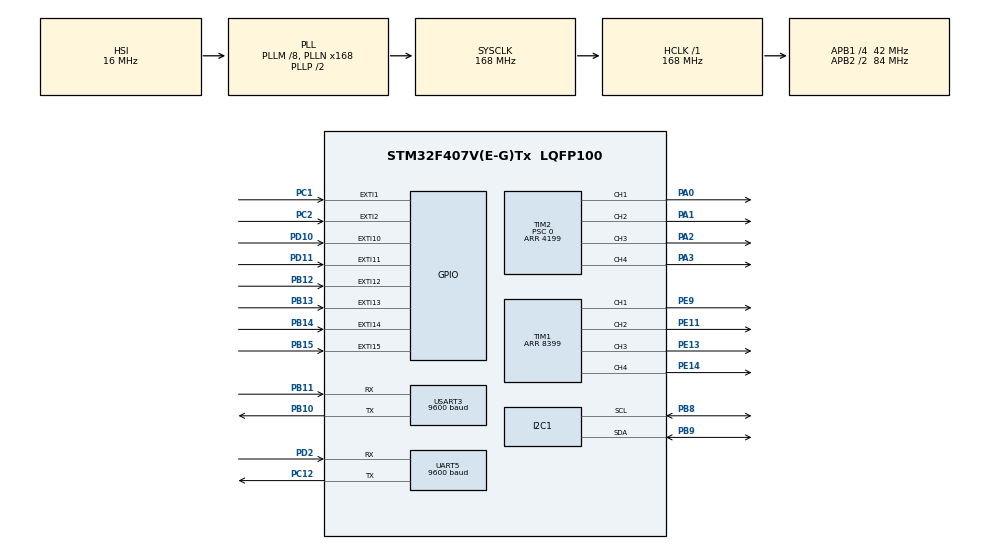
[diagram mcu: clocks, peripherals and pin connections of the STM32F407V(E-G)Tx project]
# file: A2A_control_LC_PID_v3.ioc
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Mcu.Family=STM32F4
Mcu.Name=STM32F407V(E-G)Tx
Mcu.Package=LQFP100
NVIC.EXTI15_10_IRQn=true\:0\:0\:false\:false\:true\:true\:true\:true
NVIC.EXTI1_IRQn=true\:0\:0\:false\:false\:true\:true\:true\:true
NVIC.EXTI2_IRQn=true\:0\:0\:false\:false\:true\:true\:true\:true
NVIC.PriorityGroup=NVIC_PRIORITYGROUP_4
NVIC.TIM3_IRQn=true\:0\:0\:false\:false\:true\:true\:true\:true
NVIC.UART5_IRQn=true\:0\:0\:false\:false\:true\:true\:true\:true
NVIC.USART3_IRQn=true\:0\:0\:false\:false\:true\:true\:true\:true
PA0-WKUP.Signal=S_TIM2_CH1_ETR
PA1.Signal=S_TIM2_CH2
PA2.Signal=S_TIM2_CH3
PA3.Signal=S_TIM2_CH4
PB10.Mode=Asynchronous
PB10.Signal=USART3_TX
PB11.Mode=Asynchronous
PB11.Signal=USART3_RX
PB12.Signal=GPXTI12
PB13.Signal=GPXTI13
PB14.Signal=GPXTI14
PB15.Signal=GPXTI15
PB8.Mode=I2C
PB8.Signal=I2C1_SCL
PB9.Mode=I2C
PB9.Signal=I2C1_SDA
PC1.Signal=GPXTI1
PC12.Mode=Asynchronous
PC12.Signal=UART5_TX
PC2.Signal=GPXTI2
PD10.Signal=GPXTI10
PD11.Signal=GPXTI11
PD2.Mode=Asynchronous
PD2.Signal=UART5_RX
PE11.Signal=S_TIM1_CH2
PE13.Signal=S_TIM1_CH3
PE14.Signal=S_TIM1_CH4
PE9.Signal=S_TIM1_CH1
ProjectManager.HeapSize=0x200
ProjectManager.StackSize=0x400
ProjectManager.TargetToolchain=STM32CubeIDE
RCC.48MHZClocksFreq_Value=84000000
RCC.AHBFreq_Value=168000000
RCC.APB1CLKDivider=RCC_HCLK_DIV4
RCC.APB1Freq_Value=42000000
RCC.APB1TimFreq_Value=84000000
RCC.APB2CLKDivider=RCC_HCLK_DIV2
RCC.APB2Freq_Value=84000000
RCC.APB2TimFreq_Value=168000000
RCC.CortexFreq_Value=168000000
RCC.HCLKFreq_Value=168000000
RCC.HSE_VALUE=25000000
RCC.HSI_VALUE=16000000
RCC.LSE_VALUE=32768
RCC.PLLM=8
RCC.PLLN=168
RCC.SYSCLKFreq_VALUE=168000000
RCC.SYSCLKSource=RCC_SYSCLKSOURCE_PLLCLK
RCC.VCOOutputFreq_Value=336000000
SH.S_TIM1_CH1.0=TIM1_CH1,PWM Generation1 CH1
SH.S_TIM1_CH2.0=TIM1_CH2,PWM Generation2 CH2
SH.S_TIM1_CH3.0=TIM1_CH3,PWM Generation3 CH3
SH.S_TIM1_CH4.0=TIM1_CH4,PWM Generation4 CH4
SH.S_TIM2_CH1_ETR.0=TIM2_CH1,PWM Generation1 CH1
SH.S_TIM2_CH2.0=TIM2_CH2,PWM Generation2 CH2
SH.S_TIM2_CH3.0=TIM2_CH3,PWM Generation3 CH3
SH.S_TIM2_CH4.0=TIM2_CH4,PWM Generation4 CH4
TIM1.AutoReloadPreload=TIM_AUTORELOAD_PRELOAD_ENABLE
TIM1.Channel-PWM\ Generation1\ CH1=TIM_CHANNEL_1
TIM1.Channel-PWM\ Generation2\ CH2=TIM_CHANNEL_2
TIM1.Channel-PWM\ Generation3\ CH3=TIM_CHANNEL_3
TIM1.Channel-PWM\ Generation4\ CH4=TIM_CHANNEL_4
TIM1.Period=8399
TIM2.AutoReloadPreload=TIM_AUTORELOAD_PRELOAD_ENABLE
TIM2.Channel-PWM\ Generation1\ CH1=TIM_CHANNEL_1
TIM2.Channel-PWM\ Generation2\ CH2=TIM_CHANNEL_2
TIM2.Channel-PWM\ Generation3\ CH3=TIM_CHANNEL_3
TIM2.Channel-PWM\ Generation4\ CH4=TIM_CHANNEL_4
TIM2.Period=4199
TIM2.Prescaler=0
TIM3.Period=999
TIM3.Prescaler=839
UART5.BaudRate=9600
UART5.VirtualMode=Asynchronous
USART3.BaudRate=9600
USART3.VirtualMode=VM_ASYNC
VP_TIM1_VS_ClockSourceINT.Mode=Internal
VP_TIM2_VS_ClockSourceINT.Mode=Internal
VP_TIM3_VS_ClockSourceINT.Mode=Internal
board=custom

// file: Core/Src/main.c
/* USER CODE BEGIN Header */
/**
  ******************************************************************************
  * @file           : main.c
  * @brief          : Main program body
  ******************************************************************************
  * @attention
  *
  * Copyright (c) 2025 STMicroelectronics.
  * All rights reserved.
  *
  * This software is licensed under terms that can be found in the LICENSE file
  * in the root directory of this software component.
  * If no LICENSE file comes with this software, it is provided AS-IS.
  *
  ******************************************************************************
  */
/* USER CODE END Header */
#include "main.h"

/* USER CODE BEGIN Includes */
#include <stdio.h>
#include <string.h>

// Variables globales para cada motor
typedef struct {
    float q0;        // coeficiente PI discreto
    float q1;        // coeficiente PI discreto

    float e_prev;    // error anterior
    float u_prev;    // salida anterior (PWM)
} PIController;

void controlarMotorPI(TIM_HandleTypeDef *htim, uint32_t chA, uint32_t chB,
                      PIController *pi, float setpoint, float feedback, int dir);

void movimiento(char str,
                float sp1, float sp2, float sp3, float sp4,
                float fb1, float fb2, float fb3, float fb4);
// ===== Límite de seguridad y helpers PWM =====
#define MAX_DUTY_PCT  50.0f   // tope de PWM en %, ajusta a tu gusto

static inline uint32_t pwm_get_arr(TIM_HandleTypeDef *htim) {
    return __HAL_TIM_GET_AUTORELOAD(htim);  // = Period (ARR) del timer
}

static inline uint32_t pwm_pct_to_ccr(TIM_HandleTypeDef *htim, float pct) {
    if (pct < 0.0f)   pct = 0.0f;
    if (pct > 100.0f) pct = 100.0f;
    float arr = (float)pwm_get_arr(htim);
    return (uint32_t)((pct * arr) / 100.0f + 0.5f);
}

/* USER CODE END Includes */

I2C_HandleTypeDef hi2c1;

TIM_HandleTypeDef htim1;
TIM_HandleTypeDef htim2;
TIM_HandleTypeDef htim3;

UART_HandleTypeDef huart5;
UART_HandleTypeDef huart3;

void SystemClock_Config(void);
static void MX_GPIO_Init(void);
static void MX_TIM1_Init(void);
static void MX_TIM2_Init(void);
static void MX_UART5_Init(void);
static void MX_USART3_UART_Init(void);
static void MX_I2C1_Init(void);
static void MX_TIM3_Init(void);

/* USER CODE BEGIN 0 */
// === ADDED ===
volatile char g_cmd = 'e';          // comando actual (empieza en STOP)
volatile uint8_t control_tick = 0;  // flag para ejecutar control cada 10 ms
uint8_t rx3, rx5;                   // buffers de RX por IT para USART3 y UART5

#define ENCODER_PPR 500 // Pulsos por revolución del encoder
#define TIMER_INTERVAL 100 // Intervalo del cálculo de velocidad (ms)
/* Variables globales para los encoders */
char rxData='b';
char datico='b';
int *velocidad_mostrar;

volatile int32_t encoder_count_m1 = 0, encoder_count_m2 = 0, encoder_count_m3 = 0, encoder_count_m4 = 0;
volatile int8_t motor_direction_m1 = 0, motor_direction_m2 = 0, motor_direction_m3 = 0, motor_direction_m4 = 0;
volatile int32_t pulses_in_interval_m1 = 0, pulses_in_interval_m2 = 0, pulses_in_interval_m3 = 0, pulses_in_interval_m4 = 0;
volatile int32_t motor_speed_rpm_m1 = 0, motor_speed_rpm_m2 = 0, motor_speed_rpm_m3 = 0, motor_speed_rpm_m4 = 0;

float a_m1 = 22.697, a_m2 = 23.993, a_m3 = 22.697, a_m4 = 23.119;
float b_m1 = 1200.62, b_m2 = 1200.31, b_m3 = 927.31, b_m4 = 874;

float PI_Compute(PIController *pi, float setpoint, float feedback)
{
    float e = setpoint - feedback;

    // cálculo incremental sin límites
    float u = pi->u_prev +
              pi->q0 * e +
              pi->q1 * pi->e_prev;

    // ---- ANTI-WINDUP ----
    if (u > MAX_DUTY_PCT) {
        u = MAX_DUTY_PCT;
    }
    else if (u < 0) {
        u = 0;
    } else {
        // solo actualizamos pi->u_prev si NO está saturado
        pi->u_prev = u;
    }

    pi->e_prev = e;

    return u;
}

#define TS_GLOBAL 0.003f   // 3 ms (Tu TIMER_INTERVAL = 3 ms)

PIController piM1 = { .q0 = 0.0662576184809118f,
                      .q1 = -0.0288467565916015f,
                      .e_prev = 0,
                      .u_prev = 0 };

PIController piM2 = { .q0 = 0.0662576184809118f,
						.q1 = -0.0288467565916015f,
                      .e_prev = 0,
                      .u_prev = 0 };

PIController piM3 = { 	.q0 = 0.0662576184809118f,
        				.q1 = -0.0288467565916015f,
                      .e_prev = 0,
                      .u_prev = 0 };

PIController piM4 = { .q0 = 0.0662576184809118f,
        				.q1 = -0.0288467565916015f,
                      .e_prev = 0,
                      .u_prev = 0 };

float feedbackM1, feedbackM2, feedbackM3, feedbackM4 = 0;  // Declare the feedback variables

/* ISR para las señales del encoder */
void HAL_GPIO_EXTI_Callback(uint16_t GPIO_Pin) {
    // Motor 1
    if (GPIO_Pin == GPIO_PIN_12 || GPIO_Pin == GPIO_PIN_13) {
        if (HAL_GPIO_ReadPin(GPIOB, GPIO_PIN_12) == HAL_GPIO_ReadPin(GPIOB, GPIO_PIN_13)) {
            encoder_count_m1++;
            pulses_in_interval_m1++;
            motor_direction_m1 = 1;
        } else {
            encoder_count_m1--;
            pulses_in_interval_m1++;
            motor_direction_m1 = -1;
        }
    }
    // Motor 2
    else if (GPIO_Pin == GPIO_PIN_14 || GPIO_Pin == GPIO_PIN_15) {
        if (HAL_GPIO_ReadPin(GPIOB, GPIO_PIN_14) == HAL_GPIO_ReadPin(GPIOB, GPIO_PIN_15)) {
            encoder_count_m2++;
            pulses_in_interval_m2++;
            motor_direction_m2 = 1;
        } else {
            encoder_count_m2--;
            pulses_in_interval_m2++;
            motor_direction_m2 = -1;
        }
    }
    // Motor 3
    else if (GPIO_Pin == GPIO_PIN_10 || GPIO_Pin == GPIO_PIN_11) {
        if (HAL_GPIO_ReadPin(GPIOD, GPIO_PIN_10) == HAL_GPIO_ReadPin(GPIOD, GPIO_PIN_11)) {
            encoder_count_m3++;
            pulses_in_interval_m3++;
            motor_direction_m3 = 1;
        } else {
            encoder_count_m3--;
            pulses_in_interval_m3++;
            motor_direction_m3 = -1;
        }
    }
    // Motor 4
    else if (GPIO_Pin == GPIO_PIN_2 || GPIO_Pin == GPIO_PIN_1) {
        if (HAL_GPIO_ReadPin(GPIOC, GPIO_PIN_1) == HAL_GPIO_ReadPin(GPIOC, GPIO_PIN_2)) {
            encoder_count_m4++;
            pulses_in_interval_m4++;
            motor_direction_m4 = 1;
        } else {
            encoder_count_m4--;
            pulses_in_interval_m4++;
            motor_direction_m4 = -1;
        }
    }
}
void HAL_UART_RxCpltCallback(UART_HandleTypeDef *huart) {
    char c;
    if (huart->Instance == USART3) {
        c = (char)rx3;
        HAL_UART_Receive_IT(&huart3, &rx3, 1); // rearmar
    } else if (huart->Instance == UART5) {
        c = (char)rx5;
        HAL_UART_Receive_IT(&huart5, &rx5, 1); // rearmar
    } else {
        return;
    }

    // Si es un comando válido, actualizar g_cmd y resetear integrales (anti-windup)
    if (c=='a'||c=='b'||c=='c'||c=='d'||c=='e'||c=='f'||c=='g'||c=='h'||c=='i'||c=='j'||c=='k') {
        g_cmd = c;

        // (Opcional) eco por consola:
        // HAL_UART_Transmit(&huart3, (uint8_t*)&g_cmd, 1, 50);
    }
}

/* Temporizador para calcular velocidad */
void HAL_TIM_PeriodElapsedCallback(TIM_HandleTypeDef *htim) {
    if (htim->Instance == TIM3) {
    	static float f1=0, f2=0, f3=0, f4=0;

    	float rpm1 = (pulses_in_interval_m1 * 60 * 1000) / (ENCODER_PPR * TIMER_INTERVAL);
    	float rpm2 = (pulses_in_interval_m2 * 60 * 1000) / (ENCODER_PPR * TIMER_INTERVAL);
    	float rpm3 = (pulses_in_interval_m3 * 60 * 1000) / (ENCODER_PPR * TIMER_INTERVAL);
    	float rpm4 = (pulses_in_interval_m4 * 60 * 1000) / (ENCODER_PPR * TIMER_INTERVAL);

    	// filtro exponencial: 70% pasado – 30% nuevo
    	f1 = 0.7f * f1 + 0.3f * rpm1;
    	f2 = 0.7f * f2 + 0.3f * rpm2;
    	f3 = 0.7f * f3 + 0.3f * rpm3;
    	f4 = 0.7f * f4 + 0.3f * rpm4;

    	motor_speed_rpm_m1 = rpm1;
    	motor_speed_rpm_m2 = rpm2;
    	motor_speed_rpm_m3 = rpm3;
    	motor_speed_rpm_m4 = rpm4;

        if (pulses_in_interval_m1 == 0) motor_speed_rpm_m1 = 0, motor_direction_m1 = 0;
        if (pulses_in_interval_m2 == 0) motor_speed_rpm_m2 = 0, motor_direction_m2 = 0;
        if (pulses_in_interval_m3 == 0) motor_speed_rpm_m3 = 0, motor_direction_m3 = 0;
        if (pulses_in_interval_m4 == 0) motor_speed_rpm_m4 = 0, motor_direction_m4 = 0;

        pulses_in_interval_m1 = pulses_in_interval_m2 = pulses_in_interval_m3 = pulses_in_interval_m4 = 0;
        control_tick = 1;
    }
}
/* USER CODE END 0 */

int main(void)
{

  /* MCU Configuration--------------------------------------------------------*/

  /* Reset of all peripherals, Initializes the Flash interface and the Systick. */
  HAL_Init();

  /* Configure the system clock */
  SystemClock_Config();

  /* Initialize all configured peripherals */
  MX_GPIO_Init();
  MX_TIM1_Init();
  MX_TIM2_Init();
  MX_UART5_Init();
  MX_USART3_UART_Init();
  MX_I2C1_Init();
  MX_TIM3_Init();
  /* USER CODE BEGIN 2 */
  // Arranca RX por interrupción en ambos UARTs
  HAL_UART_Receive_IT(&huart3, &rx3, 1);
  HAL_UART_Receive_IT(&huart5, &rx5, 1);

  // Timer de 10 ms para velocidades y tick de control
  HAL_TIM_Base_Start_IT(&htim3);

  // PWM: usar HAL_TIM_PWM_Start (no *_Start_IT)
  HAL_TIM_PWM_Start(&htim1, TIM_CHANNEL_1);
  HAL_TIM_PWM_Start(&htim1, TIM_CHANNEL_2);
  HAL_TIM_PWM_Start(&htim1, TIM_CHANNEL_3);
  HAL_TIM_PWM_Start(&htim1, TIM_CHANNEL_4);

  HAL_TIM_PWM_Start(&htim2, TIM_CHANNEL_1);
  HAL_TIM_PWM_Start(&htim2, TIM_CHANNEL_2);
  HAL_TIM_PWM_Start(&htim2, TIM_CHANNEL_3);
  HAL_TIM_PWM_Start(&htim2, TIM_CHANNEL_4);

  // Inicializa duty en 0
  __HAL_TIM_SetCompare(&htim1, TIM_CHANNEL_1, 0);
  __HAL_TIM_SetCompare(&htim1, TIM_CHANNEL_2, 0);
  __HAL_TIM_SetCompare(&htim1, TIM_CHANNEL_3, 0);
  __HAL_TIM_SetCompare(&htim1, TIM_CHANNEL_4, 0);
  __HAL_TIM_SetCompare(&htim2, TIM_CHANNEL_1, 0);
  __HAL_TIM_SetCompare(&htim2, TIM_CHANNEL_2, 0);
  __HAL_TIM_SetCompare(&htim2, TIM_CHANNEL_3, 0);
  __HAL_TIM_SetCompare(&htim2, TIM_CHANNEL_4, 0);
  /* USER CODE END 2 */

  /* Infinite loop */
  /* USER CODE BEGIN WHILE */
  while (1)
  {
	    if (control_tick) {
	        control_tick = 0;

	        float sp_rpm = 60.0f;
	        movimiento(g_cmd,
	                   sp_rpm, sp_rpm, sp_rpm, sp_rpm,
	                   motor_speed_rpm_m1, motor_speed_rpm_m2,
	                   motor_speed_rpm_m3, motor_speed_rpm_m4);

	    }
    /* USER CODE END WHILE */

  }
}

void SystemClock_Config(void)
{
  RCC_OscInitTypeDef RCC_OscInitStruct = {0};
  RCC_ClkInitTypeDef RCC_ClkInitStruct = {0};

  /** Configure the main internal regulator output voltage
  */
  __HAL_RCC_PWR_CLK_ENABLE();
  __HAL_PWR_VOLTAGESCALING_CONFIG(PWR_REGULATOR_VOLTAGE_SCALE1);

  /** Initializes the RCC Oscillators according to the specified parameters
  * in the RCC_OscInitTypeDef structure.
  */
  RCC_OscInitStruct.OscillatorType = RCC_OSCILLATORTYPE_HSI;
  RCC_OscInitStruct.HSIState = RCC_HSI_ON;
  RCC_OscInitStruct.HSICalibrationValue = RCC_HSICALIBRATION_DEFAULT;
  RCC_OscInitStruct.PLL.PLLState = RCC_PLL_ON;
  RCC_OscInitStruct.PLL.PLLSource = RCC_PLLSOURCE_HSI;
  RCC_OscInitStruct.PLL.PLLM = 8;
  RCC_OscInitStruct.PLL.PLLN = 168;
  RCC_OscInitStruct.PLL.PLLP = RCC_PLLP_DIV2;
  RCC_OscInitStruct.PLL.PLLQ = 4;
  if (HAL_RCC_OscConfig(&RCC_OscInitStruct) != HAL_OK)
  {
    Error_Handler();
  }

  /** Initializes the CPU, AHB and APB buses clocks
  */
  RCC_ClkInitStruct.ClockType = RCC_CLOCKTYPE_HCLK|RCC_CLOCKTYPE_SYSCLK
                              |RCC_CLOCKTYPE_PCLK1|RCC_CLOCKTYPE_PCLK2;
  RCC_ClkInitStruct.SYSCLKSource = RCC_SYSCLKSOURCE_PLLCLK;
  RCC_ClkInitStruct.AHBCLKDivider = RCC_SYSCLK_DIV1;
  RCC_ClkInitStruct.APB1CLKDivider = RCC_HCLK_DIV4;
  RCC_ClkInitStruct.APB2CLKDivider = RCC_HCLK_DIV2;

  if (HAL_RCC_ClockConfig(&RCC_ClkInitStruct, FLASH_LATENCY_5) != HAL_OK)
  {
    Error_Handler();
  }
}

static void MX_I2C1_Init(void)
{

  hi2c1.Instance = I2C1;
  hi2c1.Init.ClockSpeed = 100000;
  hi2c1.Init.DutyCycle = I2C_DUTYCYCLE_2;
  hi2c1.Init.OwnAddress1 = 0;
  hi2c1.Init.AddressingMode = I2C_ADDRESSINGMODE_7BIT;
  hi2c1.Init.DualAddressMode = I2C_DUALADDRESS_DISABLE;
  hi2c1.Init.OwnAddress2 = 0;
  hi2c1.Init.GeneralCallMode = I2C_GENERALCALL_DISABLE;
  hi2c1.Init.NoStretchMode = I2C_NOSTRETCH_DISABLE;
  if (HAL_I2C_Init(&hi2c1) != HAL_OK)
  {
    Error_Handler();
  }

}

static void MX_TIM1_Init(void)
{

  TIM_ClockConfigTypeDef sClockSourceConfig = {0};
  TIM_MasterConfigTypeDef sMasterConfig = {0};
  TIM_OC_InitTypeDef sConfigOC = {0};
  TIM_BreakDeadTimeConfigTypeDef sBreakDeadTimeConfig = {0};

  htim1.Instance = TIM1;
  htim1.Init.Prescaler = 0;
  htim1.Init.CounterMode = TIM_COUNTERMODE_UP;
  htim1.Init.Period = 8399;
  htim1.Init.ClockDivision = TIM_CLOCKDIVISION_DIV1;
  htim1.Init.RepetitionCounter = 0;
  htim1.Init.AutoReloadPreload = TIM_AUTORELOAD_PRELOAD_ENABLE;
  if (HAL_TIM_Base_Init(&htim1) != HAL_OK)
  {
    Error_Handler();
  }
  sClockSourceConfig.ClockSource = TIM_CLOCKSOURCE_INTERNAL;
  if (HAL_TIM_ConfigClockSource(&htim1, &sClockSourceConfig) != HAL_OK)
  {
    Error_Handler();
  }
  if (HAL_TIM_PWM_Init(&htim1) != HAL_OK)
  {
    Error_Handler();
  }
  sMasterConfig.MasterOutputTrigger = TIM_TRGO_RESET;
  sMasterConfig.MasterSlaveMode = TIM_MASTERSLAVEMODE_DISABLE;
  if (HAL_TIMEx_MasterConfigSynchronization(&htim1, &sMasterConfig) != HAL_OK)
  {
    Error_Handler();
  }
  sConfigOC.OCMode = TIM_OCMODE_PWM1;
  sConfigOC.Pulse = 0;
  sConfigOC.OCPolarity = TIM_OCPOLARITY_HIGH;
  sConfigOC.OCNPolarity = TIM_OCNPOLARITY_HIGH;
  sConfigOC.OCFastMode = TIM_OCFAST_DISABLE;
  sConfigOC.OCIdleState = TIM_OCIDLESTATE_RESET;
  sConfigOC.OCNIdleState = TIM_OCNIDLESTATE_RESET;
  if (HAL_TIM_PWM_ConfigChannel(&htim1, &sConfigOC, TIM_CHANNEL_1) != HAL_OK)
  {
    Error_Handler();
  }
  if (HAL_TIM_PWM_ConfigChannel(&htim1, &sConfigOC, TIM_CHANNEL_2) != HAL_OK)
  {
    Error_Handler();
  }
  if (HAL_TIM_PWM_ConfigChannel(&htim1, &sConfigOC, TIM_CHANNEL_3) != HAL_OK)
  {
    Error_Handler();
  }
  if (HAL_TIM_PWM_ConfigChannel(&htim1, &sConfigOC, TIM_CHANNEL_4) != HAL_OK)
  {
    Error_Handler();
  }
  sBreakDeadTimeConfig.OffStateRunMode = TIM_OSSR_DISABLE;
  sBreakDeadTimeConfig.OffStateIDLEMode = TIM_OSSI_DISABLE;
  sBreakDeadTimeConfig.LockLevel = TIM_LOCKLEVEL_OFF;
  sBreakDeadTimeConfig.DeadTime = 0;
  sBreakDeadTimeConfig.BreakState = TIM_BREAK_DISABLE;
  sBreakDeadTimeConfig.BreakPolarity = TIM_BREAKPOLARITY_HIGH;
  sBreakDeadTimeConfig.AutomaticOutput = TIM_AUTOMATICOUTPUT_DISABLE;
  if (HAL_TIMEx_ConfigBreakDeadTime(&htim1, &sBreakDeadTimeConfig) != HAL_OK)
  {
    Error_Handler();
  }
  HAL_TIM_MspPostInit(&htim1);

}

static void MX_TIM2_Init(void)
{

  TIM_ClockConfigTypeDef sClockSourceConfig = {0};
  TIM_MasterConfigTypeDef sMasterConfig = {0};
  TIM_OC_InitTypeDef sConfigOC = {0};

  htim2.Instance = TIM2;
  htim2.Init.Prescaler = 0;
  htim2.Init.CounterMode = TIM_COUNTERMODE_UP;
  htim2.Init.Period = 4199;
  htim2.Init.ClockDivision = TIM_CLOCKDIVISION_DIV1;
  htim2.Init.AutoReloadPreload = TIM_AUTORELOAD_PRELOAD_ENABLE;
  if (HAL_TIM_Base_Init(&htim2) != HAL_OK)
  {
    Error_Handler();
  }
  sClockSourceConfig.ClockSource = TIM_CLOCKSOURCE_INTERNAL;
  if (HAL_TIM_ConfigClockSource(&htim2, &sClockSourceConfig) != HAL_OK)
  {
    Error_Handler();
  }
  if (HAL_TIM_PWM_Init(&htim2) != HAL_OK)
  {
    Error_Handler();
  }
  sMasterConfig.MasterOutputTrigger = TIM_TRGO_RESET;
  sMasterConfig.MasterSlaveMode = TIM_MASTERSLAVEMODE_DISABLE;
  if (HAL_TIMEx_MasterConfigSynchronization(&htim2, &sMasterConfig) != HAL_OK)
  {
    Error_Handler();
  }
  sConfigOC.OCMode = TIM_OCMODE_PWM1;
  sConfigOC.Pulse = 0;
  sConfigOC.OCPolarity = TIM_OCPOLARITY_HIGH;
  sConfigOC.OCFastMode = TIM_OCFAST_DISABLE;
  if (HAL_TIM_PWM_ConfigChannel(&htim2, &sConfigOC, TIM_CHANNEL_1) != HAL_OK)
  {
    Error_Handler();
  }
  if (HAL_TIM_PWM_ConfigChannel(&htim2, &sConfigOC, TIM_CHANNEL_2) != HAL_OK)
  {
    Error_Handler();
  }
  if (HAL_TIM_PWM_ConfigChannel(&htim2, &sConfigOC, TIM_CHANNEL_3) != HAL_OK)
  {
    Error_Handler();
  }
  if (HAL_TIM_PWM_ConfigChannel(&htim2, &sConfigOC, TIM_CHANNEL_4) != HAL_OK)
  {
    Error_Handler();
  }
  HAL_TIM_MspPostInit(&htim2);

}

static void MX_TIM3_Init(void)
{

  TIM_ClockConfigTypeDef sClockSourceConfig = {0};
  TIM_MasterConfigTypeDef sMasterConfig = {0};

  htim3.Instance = TIM3;
  htim3.Init.Prescaler = 839;
  htim3.Init.CounterMode = TIM_COUNTERMODE_UP;
  htim3.Init.Period = 999;
  htim3.Init.ClockDivision = TIM_CLOCKDIVISION_DIV1;
  htim3.Init.AutoReloadPreload = TIM_AUTORELOAD_PRELOAD_DISABLE;
  if (HAL_TIM_Base_Init(&htim3) != HAL_OK)
  {
    Error_Handler();
  }
  sClockSourceConfig.ClockSource = TIM_CLOCKSOURCE_INTERNAL;
  if (HAL_TIM_ConfigClockSource(&htim3, &sClockSourceConfig) != HAL_OK)
  {
    Error_Handler();
  }
  sMasterConfig.MasterOutputTrigger = TIM_TRGO_RESET;
  sMasterConfig.MasterSlaveMode = TIM_MASTERSLAVEMODE_DISABLE;
  if (HAL_TIMEx_MasterConfigSynchronization(&htim3, &sMasterConfig) != HAL_OK)
  {
    Error_Handler();
  }

}

static void MX_UART5_Init(void)
{

  huart5.Instance = UART5;
  huart5.Init.BaudRate = 9600;
  huart5.Init.WordLength = UART_WORDLENGTH_8B;
  huart5.Init.StopBits = UART_STOPBITS_1;
  huart5.Init.Parity = UART_PARITY_NONE;
  huart5.Init.Mode = UART_MODE_TX_RX;
  huart5.Init.HwFlowCtl = UART_HWCONTROL_NONE;
  huart5.Init.OverSampling = UART_OVERSAMPLING_16;
  if (HAL_UART_Init(&huart5) != HAL_OK)
  {
    Error_Handler();
  }

}

static void MX_USART3_UART_Init(void)
{

  huart3.Instance = USART3;
  huart3.Init.BaudRate = 9600;
  huart3.Init.WordLength = UART_WORDLENGTH_8B;
  huart3.Init.StopBits = UART_STOPBITS_1;
  huart3.Init.Parity = UART_PARITY_NONE;
  huart3.Init.Mode = UART_MODE_TX_RX;
  huart3.Init.HwFlowCtl = UART_HWCONTROL_NONE;
  huart3.Init.OverSampling = UART_OVERSAMPLING_16;
  if (HAL_UART_Init(&huart3) != HAL_OK)
  {
    Error_Handler();
  }

}

static void MX_GPIO_Init(void)
{
  GPIO_InitTypeDef GPIO_InitStruct = {0};

  /* GPIO Ports Clock Enable */
  __HAL_RCC_GPIOC_CLK_ENABLE();
  __HAL_RCC_GPIOA_CLK_ENABLE();
  __HAL_RCC_GPIOE_CLK_ENABLE();
  __HAL_RCC_GPIOB_CLK_ENABLE();
  __HAL_RCC_GPIOD_CLK_ENABLE();

  /*Configure GPIO pins : PC1 PC2 */
  GPIO_InitStruct.Pin = GPIO_PIN_1|GPIO_PIN_2;
  GPIO_InitStruct.Mode = GPIO_MODE_IT_RISING;
  GPIO_InitStruct.Pull = GPIO_NOPULL;
  HAL_GPIO_Init(GPIOC, &GPIO_InitStruct);

  /*Configure GPIO pins : PB12 PB13 PB14 PB15 */
  GPIO_InitStruct.Pin = GPIO_PIN_12|GPIO_PIN_13|GPIO_PIN_14|GPIO_PIN_15;
  GPIO_InitStruct.Mode = GPIO_MODE_IT_RISING;
  GPIO_InitStruct.Pull = GPIO_NOPULL;
  HAL_GPIO_Init(GPIOB, &GPIO_InitStruct);

  /*Configure GPIO pins : PD10 PD11 */
  GPIO_InitStruct.Pin = GPIO_PIN_10|GPIO_PIN_11;
  GPIO_InitStruct.Mode = GPIO_MODE_IT_RISING;
  GPIO_InitStruct.Pull = GPIO_NOPULL;
  HAL_GPIO_Init(GPIOD, &GPIO_InitStruct);

  /* EXTI interrupt init*/
  HAL_NVIC_SetPriority(EXTI1_IRQn, 0, 0);
  HAL_NVIC_EnableIRQ(EXTI1_IRQn);

  HAL_NVIC_SetPriority(EXTI2_IRQn, 0, 0);
  HAL_NVIC_EnableIRQ(EXTI2_IRQn);

  HAL_NVIC_SetPriority(EXTI15_10_IRQn, 0, 0);
  HAL_NVIC_EnableIRQ(EXTI15_10_IRQn);

}

/* USER CODE BEGIN 4 */
void controlarMotorPI(TIM_HandleTypeDef *htim, uint32_t chA, uint32_t chB,
                      PIController *pi, float setpoint, float feedback, int dir)
{
    float u_pct = PI_Compute(pi, setpoint, feedback);

    if (u_pct > MAX_DUTY_PCT) u_pct = MAX_DUTY_PCT;
    if (u_pct < 0) u_pct = 0;

    uint32_t ccr = pwm_pct_to_ccr(htim, u_pct);

    if (dir == 1) {
        __HAL_TIM_SetCompare(htim, chA, ccr);
        __HAL_TIM_SetCompare(htim, chB, 0);
    }
    else if (dir == -1) {
        __HAL_TIM_SetCompare(htim, chA, 0);
        __HAL_TIM_SetCompare(htim, chB, ccr);
    }
    else {
        __HAL_TIM_SetCompare(htim, chA, 0);
        __HAL_TIM_SetCompare(htim, chB, 0);
    }
}

void movimiento(char str,
                float sp1, float sp2, float sp3, float sp4,
                float fb1, float fb2, float fb3, float fb4)
{
    int dir1 = 0, dir2 = 0, dir3 = 0, dir4 = 0;

    switch (str) {
        case 'b': dir1=dir3=1; dir2=dir4=-1; break;   // Adelante
        case 'h': dir1=dir3=-1; dir2=dir4=1; break;   // Atrás
        case 'j': dir1=dir2=dir3=dir4=1; break;       // Giro horario
        case 'k': dir1=dir2=dir3=dir4=-1; break;      // Giro antihorario
        case 'c': dir1=1; dir4=-1; break;             // 45° adelante derecha
        case 'a': dir2=-1; dir3=1; break;             // 45° adelante izquierda
        case 'g': dir1=-1; dir4=1; break;
        case 'i': dir2=1; dir3=-1; break;
        case 'f': dir1=dir2=1; dir3=dir4=-1; break;   // Lateral derecha
        case 'd': dir1=dir2=-1; dir3=dir4=1; break;   // Lateral izquierda
        case 'e':
        default: dir1=dir2=dir3=dir4 = 0; break;      // Stop
    }

    controlarMotorPI(&htim1, TIM_CHANNEL_1, TIM_CHANNEL_2,
                      &piM1, sp1, fb1, dir1);

    controlarMotorPI(&htim1, TIM_CHANNEL_3, TIM_CHANNEL_4,
                      &piM2, sp2, fb2, dir2);

    controlarMotorPI(&htim2, TIM_CHANNEL_1, TIM_CHANNEL_2,
                      &piM3, sp3, fb3, dir3);

    controlarMotorPI(&htim2, TIM_CHANNEL_3, TIM_CHANNEL_4,
                      &piM4, sp4, fb4, dir4);

}

/* USER CODE END 4 */

void Error_Handler(void)
{
  __disable_irq();
  while (1)
  {
  }
}
